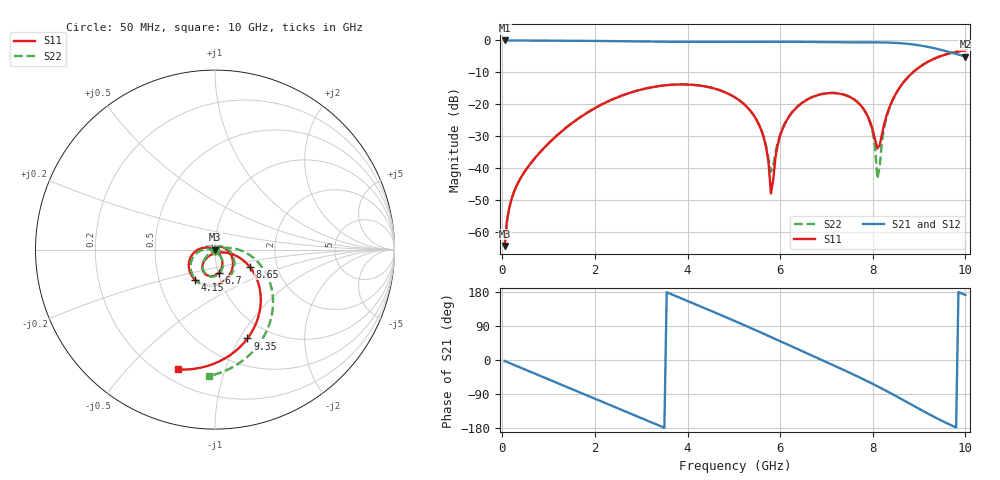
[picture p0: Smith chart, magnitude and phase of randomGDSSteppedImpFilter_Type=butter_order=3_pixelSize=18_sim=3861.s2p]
! freq	dB(S11)	phase(S11)	dB(S12)	phase(S12)
!  dB(S21)	phase(S21)	dB(S22)	phase(S22)
!S-par simulation data
#  GHz  S  DB  R 50
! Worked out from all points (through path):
!   200 points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, 50 MHz to 10 GHz, reference 50 ohm
!   highest |S21| = 0.00 dB at 50 MHz (marker M1); lowest = -5.1 dB at 10 GHz (marker M2)
!   group delay of S21, straight-line fit = 151 ps
!   lowest |S11| = -64.3 dB at 50 MHz (marker M3), VSWR 1.00, Z = 50 + j0.0502 ohm
!   |S11| at or under -10 dB: start of sweep to 8.866 GHz
!   |S22| runs from -64.3 to -3.0 dB; largest |S21 - S12| = 0
!   S11 on the Smith chart (normalised r, x): 50 MHz: 1.00, +0.00; 4.15 GHz: 0.76, -0.27; 6.7 GHz: 1.01, -0.26; 8.65 GHz: 1.44, -0.29; 9.35 GHz: 0.79, -1.08; 10 GHz: 0.27, -0.70
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0.05  -64.28 55.1  -0.00 -2.6  -0.00 -2.6  -64.32 56.1
0.15  -52.37 67.2  -0.02 -7.7  -0.02 -7.7  -52.40 68.6
0.4  -42.92 65.4  -0.03 -20.4  -0.03 -20.4  -42.92 68.5
1.75  -23.37 -1.1  -0.12 -89.3  -0.12 -89.3  -23.33 4.7
2.5  -17.71 -39.7  -0.23 -127.7  -0.23 -127.7  -17.68 -34.2
3.4  -14.24 -85.5  -0.39 -173.7  -0.39 -173.7  -14.22 -80.1
4.15  -13.93 -123.4  -0.46 148.1  -0.46 148.1  -13.91 -117.7
5.05  -18.04 -169.2  -0.41 101.3  -0.41 101.3  -18.03 -162.1
5.6  -28.34 164.3  -0.37 71.6  -0.37 71.6  -28.25 177.7
5.75  -38.37 165.5  -0.38 63.4  -0.38 63.4  -37.03 -165.5
5.8  -47.85 -165.2  -0.38 60.7  -0.38 60.7  -41.05 -130.6
5.9  -36.44 -46.7  -0.38 55.2  -0.38 55.2  -35.05 -60.1
6.05  -27.76 -48.1  -0.40 46.9  -0.40 46.9  -27.44 -50.8
6.7  -17.70 -80.5  -0.52 11.1  -0.52 11.1  -17.61 -77.7
7.75  -20.48 -132.4  -0.59 -48.0  -0.59 -48.0  -20.48 -133.1
8  -28.05 -129.0  -0.60 -63.1  -0.60 -63.1  -28.90 -144.3
8.1  -33.77 -88.6  -0.60 -69.2  -0.60 -69.2  -43.24 -125.3
8.25  -25.97 -18.2  -0.64 -78.7  -0.64 -78.7  -26.86 10.8
8.35  -21.26 -14.5  -0.67 -85.2  -0.67 -85.2  -21.55 6.5
8.65  -13.35 -26.3  -0.91 -105.1  -0.91 -105.1  -13.37 -11.5
9.35  -5.56 -69.9  -2.51 -151.7  -2.51 -151.7  -5.51 -56.5
10  -3.11 -107.1  -5.06 171.6  -5.06 171.6  -3.04 -92.5
